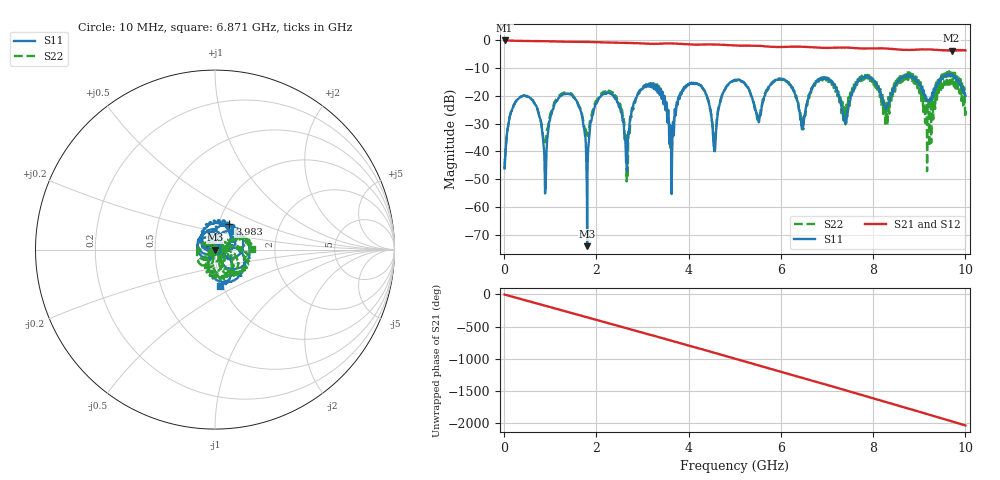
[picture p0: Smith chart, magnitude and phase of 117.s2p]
!Keysight Technologies,E5080B,MY59205177,A.15.75.32
!Date: Friday, February 23, 2024 03:37:30
!Correction: S11(Cdelta 2-Port  )
!S21(Cdelta 2-Port  )
!S12(Cdelta 2-Port  )
!S22(Cdelta 2-Port  )
!S2P File: Measurements: S11, S21, S12, S22:
# Hz S  dB  R 50
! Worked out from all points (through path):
!   10001 points, 10 MHz to 10 GHz, reference 50 ohm
!   highest |S21| = -0.01 dB at 10 MHz (marker M1); lowest = -3.7 dB at 9.701 GHz (marker M2)
!   group delay of S21, straight-line fit = 565 ps
!   lowest |S11| = -74.1 dB at 1.799 GHz (marker M3), VSWR 1.00, Z = 50 - j0.00236 ohm
!   |S11| at or under -10 dB: start of sweep to end of sweep
!   |S22| runs from -50.8 to -11.1 dB; largest |S21 - S12| = 0.0015
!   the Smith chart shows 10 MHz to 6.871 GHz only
!   S11 on the Smith chart (normalised r, x): 10 MHz: 1.01, -0.00; 3.983 GHz: 1.12, +0.33; 6.871 GHz: 0.97, -0.41
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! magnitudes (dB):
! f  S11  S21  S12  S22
! 10 MHz  -46.1  0.0  0.0  -45.9
! 372.6 MHz  -20.2  -0.2  -0.2  -20.1
! 888.1 MHz  -54.7  -0.3  -0.3  -37.0
! 1.178 GHz  -20.8  -0.4  -0.4  -20.2
! 1.675 GHz  -26.2  -0.5  -0.5  -25.6
! 1.799 GHz  -74.1  -0.5  -0.5  -33.3
! 2.108 GHz  -19.8  -0.7  -0.7  -19.0
! 2.662 GHz  -46.7  -0.9  -0.9  -43.9
! 2.892 GHz  -19.3  -1.0  -1.0  -20.0
! 3.341 GHz  -17.4  -1.2  -1.2  -17.7
! 3.627 GHz  -47.0  -1.1  -1.1  -41.9
! 3.983 GHz  -15.8  -1.4  -1.4  -15.9
! 4.561 GHz  -39.6  -1.5  -1.5  -38.5
! 5.005 GHz  -14.2  -1.8  -1.8  -14.5
! 5.517 GHz  -29.3  -2.0  -2.0  -28.4
! 6.108 GHz  -14.7  -2.3  -2.3  -14.8
! 6.464 GHz  -31.4  -2.3  -2.3  -27.9
! 6.67 GHz  -17.3  -2.5  -2.5  -17.0
! 6.871 GHz  -13.9  -2.6  -2.6  -13.8
! 8.336 GHz  -22.7  -3.0  -3.0  -21.0
! 9.701 GHz  -12.2  -3.7  -3.7  -13.8
! 10 GHz  -20.0  -3.6  -3.6  -25.4
